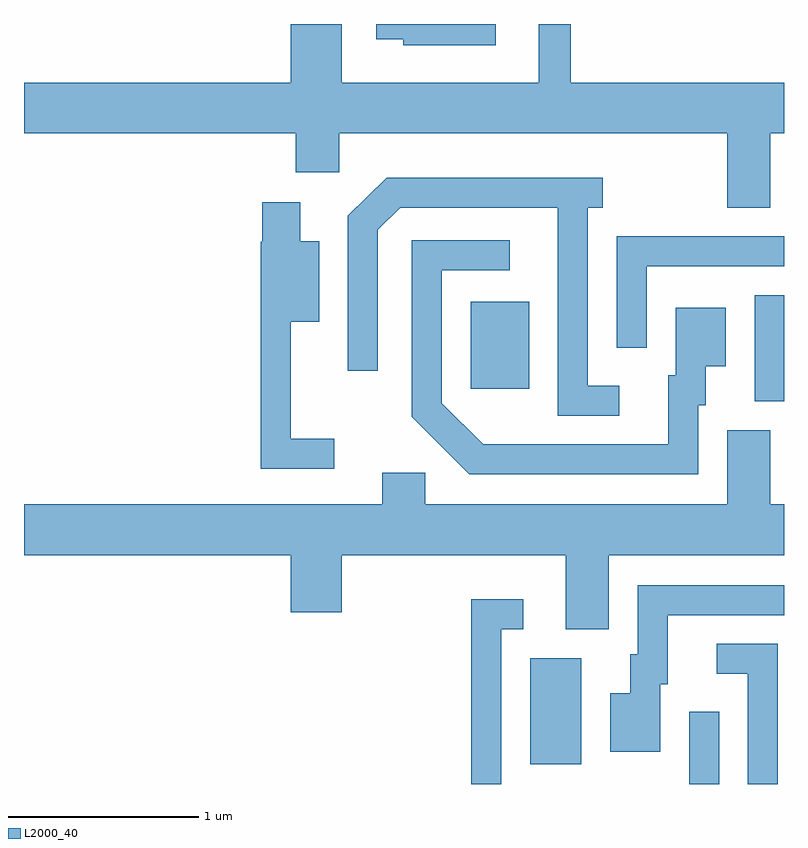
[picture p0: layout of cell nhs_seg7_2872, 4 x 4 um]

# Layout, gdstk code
import gdstk
lib = gdstk.Library(unit=1e-6, precision=1e-09)
def R(c, l, rs):  # rectangles x0, y0, x1, y1
    for r in rs: c.add(gdstk.rectangle(r[:2], r[2:], *l))
def P(c, l, *ps):  # polygons
    for p in ps: c.add(gdstk.Polygon(p, *l))
L2000_40 = (2000, 40)

nhs_seg7_2872 = lib.new_cell('nhs_seg7_2872')
R(nhs_seg7_2872, L2000_40, [(277.111,1684.252,277.269,1684.633), (276.276,1684.356,276.544,1684.914), (277.456,1686.266,277.611,1686.824), (275.961,1686.331,276.269,1686.789)])
P(nhs_seg7_2872, L2000_40, [(277.539,1687.676),(277.611,1687.676),(277.611,1687.944),(276.489,1687.944),(276.489,1688.252),(276.321,1688.252),(276.321,1687.944),(275.284,1687.944),(275.284,1688.252),(275.016,1688.252),(275.016,1687.944),(273.611,1687.944),(273.611,1687.676),(275.041,1687.676),(275.041,1687.471),(275.269,1687.471),(275.269,1687.676),(277.311,1687.676),(277.311,1687.286),(277.539,1687.286)],
  [(276.094,1688.252),(275.466,1688.252),(275.466,1688.171),(275.606,1688.171),(275.606,1688.141),(276.094,1688.141)],
  [(276.743,1686.349),(276.579,1686.349),(276.579,1687.286),(276.658,1687.286),(276.658,1687.444),(275.519,1687.444),(275.316,1687.242),(275.316,1686.428),(275.474,1686.428),(275.474,1687.169),(275.592,1687.286),(276.421,1687.286),(276.421,1686.191),(276.743,1686.191)],
  [(275.243,1686.069),(275.014,1686.069),(275.014,1686.686),(275.164,1686.686),(275.164,1687.109),(275.064,1687.109),(275.064,1687.314),(274.866,1687.314),(274.866,1687.105),(274.856,1687.105),(274.856,1685.911),(275.243,1685.911)],
  [(276.889,1686.976),(277.611,1686.976),(277.611,1687.134),(276.731,1687.134),(276.731,1686.548),(276.889,1686.548)],
  [(277.159,1686.246),(277.199,1686.246),(277.199,1686.451),(277.304,1686.451),(277.304,1686.759),(277.041,1686.759),(277.041,1686.404),(277.001,1686.404),(277.001,1686.039),(276.027,1686.039),(275.809,1686.257),(275.809,1686.956),(276.168,1686.956),(276.168,1687.114),(275.651,1687.114),(275.651,1686.184),(275.954,1685.881),(277.159,1685.881)],
  [(276.689,1685.456),(277.611,1685.456),(277.611,1685.724),(277.539,1685.724),(277.539,1686.114),(277.311,1686.114),(277.311,1685.724),(275.724,1685.724),(275.724,1685.889),(275.496,1685.889),(275.496,1685.724),(273.611,1685.724),(273.611,1685.456),(275.016,1685.456),(275.016,1685.156),(275.284,1685.156),(275.284,1685.456),(276.461,1685.456),(276.461,1685.066),(276.689,1685.066)],
  [(276.959,1684.776),(276.999,1684.776),(276.999,1685.141),(277.611,1685.141),(277.611,1685.299),(276.841,1685.299),(276.841,1684.934),(276.801,1684.934),(276.801,1684.729),(276.696,1684.729),(276.696,1684.421),(276.959,1684.421)],
  [(276.124,1685.066),(276.238,1685.066),(276.238,1685.224),(275.966,1685.224),(275.966,1684.252),(276.124,1684.252)],
  [(277.579,1684.989),(277.258,1684.989),(277.258,1684.831),(277.421,1684.831),(277.421,1684.252),(277.579,1684.252)])

lib.write_gds('nhs_seg7_2872.gds')
